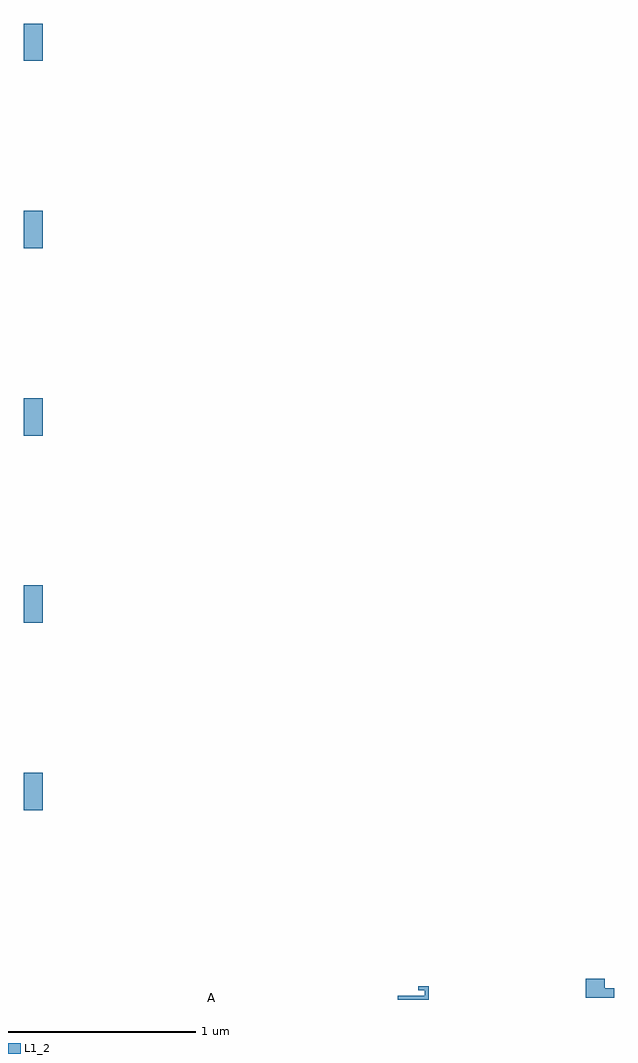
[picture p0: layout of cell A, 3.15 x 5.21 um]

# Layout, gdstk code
import gdstk
lib = gdstk.Library(unit=1e-6, precision=1e-09)
def R(c, l, rs):  # rectangles x0, y0, x1, y1
    for r in rs: c.add(gdstk.rectangle(r[:2], r[2:], *l))
def A(c, l, x, y, w, h, nx, ny, dx, dy):  # array of equal rectangles
    R(c, l, [(x+i*dx, y+j*dy, x+i*dx+w, y+j*dy+h) for i in range(nx) for j in range(ny)])
def P(c, l, *ps):  # polygons
    for p in ps: c.add(gdstk.Polygon(p, *l))
L1_2 = (1, 2)

c_a = lib.new_cell('A')
A(c_a, L1_2, 0, 1, 0.1, 0.2, 1, 5, 0, 1)
P(c_a, L1_2, [(3,0),(3.15,0),(3.15,0.05),(3.1,0.05),(3.1,0.1),(3,0.1)])
c_a.add(gdstk.FlexPath([(2,0),(2.15,0),(2.15,0.05),(2.1,0.05)], 0.02, ends=(0.005, -0.005), simple_path=True, layer=1, datatype=2))  # L1_2
c_a.add(gdstk.Label('A', (1,0), layer=2, texttype=1))

lib.write_gds('A.gds')
